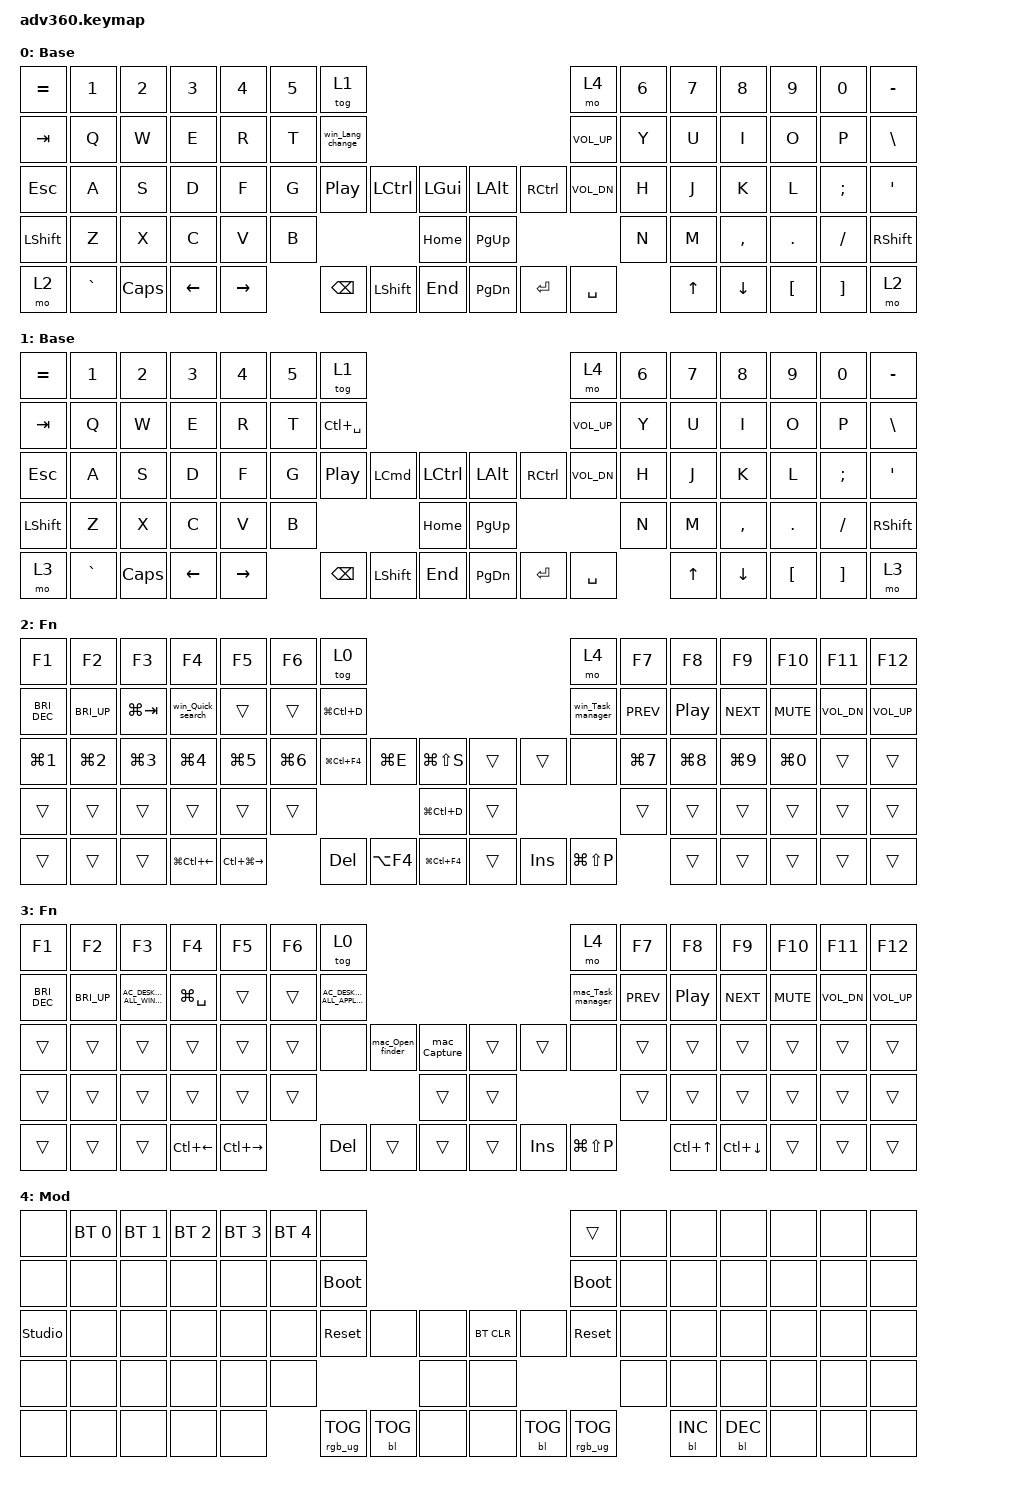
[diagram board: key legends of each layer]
#include <dt-bindings/zmk/stp.h>
#include <behaviors.dtsi>
#include <dt-bindings/zmk/backlight.h>
#include <dt-bindings/zmk/bt.h>
#include <dt-bindings/zmk/keys.h>
#include <dt-bindings/zmk/rgb.h>

/ {
    behaviors {
        #include "macros.dtsi"
      #include "version.dtsi"

        hm: homerow_mods {
            compatible = "zmk,behavior-hold-tap";
            label = "HOMEROW_MODS";
            #binding-cells = <2>;
            tapping-term-ms = <200>;
            quick_tap_ms = <175>;
            flavor = "tap-preferred";
            bindings = <&kp>, <&kp>;
        };

        normal_hold_tap: normal_hold_tap {
            compatible = "zmk,behavior-hold-tap";
            label = "NORMAL_HOLD_TAP";
            bindings = <&kp>, <&kp>;

            #binding-cells = <2>;
            tapping-term-ms = <600>;
            flavor = "tap-preferred";
        };
    };

    macros {
        win_Lang_change: Lang_change {
            compatible = "zmk,behavior-macro";
            #binding-cells = <0>;
            bindings = <&kp LG(SPACE)>;
            label = "LANG_CHANGE";
            tap-ms = <0>;
        };

        win_Quick_search: win_Quick_search {
            compatible = "zmk,behavior-macro";
            #binding-cells = <0>;
            bindings = <&kp LC(LS(F))>;
            label = "WIN_QUICK_SEARCH";
        };

        mac_Voice_dictation: mac_Voice_dictation {
            compatible = "zmk,behavior-macro";
            #binding-cells = <0>;
            bindings = <&kp RIGHT_CONTROL &kp RIGHT_CONTROL>;
            label = "MAC_VOICE_DICTATION";
        };

        mac_Open_finder: Mac_open_finder {
            compatible = "zmk,behavior-macro";
            #binding-cells = <0>;
            bindings = <&kp RS(LEFT_COMMAND)>, <&macro_press>, <&kp D>;

            label = "MAC_OPEN_FINDER";
        };

        mac_Capture: Mac_capture {
            compatible = "zmk,behavior-macro";
            #binding-cells = <0>;
            bindings = <&kp LS(LEFT_COMMAND)>, <&macro_press>, <&kp N4>;

            label = "MAC_CAPTURE";
        };

        win_Task_manager: win_Task_manager {
            compatible = "zmk,behavior-macro";
            #binding-cells = <0>;
            bindings = <&kp LC(LA(DELETE))>;
            label = "WIN_TASK_MANAGER";
        };

        mac_Task_manager: mac_Task_manager {
            compatible = "zmk,behavior-macro";
            #binding-cells = <0>;
            bindings = <&kp LG(LA(LS(ESCAPE)))>;
            label = "MAC_TASK_MANAGER";
        };
    };

    keymap {
        compatible = "zmk,keymap";

        window_layer {
            display-name = "Base";
            bindings = <
&kp EQUAL  &kp N1     &kp N2    &kp N3    &kp N4     &kp N5  &tog 1                                                                       &mo 4            &kp N6  &kp N7  &kp N8     &kp N9    &kp N0    &kp MINUS
&kp TAB    &kp Q      &kp W     &kp E     &kp R      &kp T   &win_Lang_change                                                             &kp C_VOLUME_UP  &kp Y   &kp U   &kp I      &kp O     &kp P     &kp BSLH
&kp ESC    &kp A      &kp S     &kp D     &kp F      &kp G   &kp C_PP          &kp LCTRL       &kp LEFT_GUI      &kp LEFT_ALT  &kp RCTRL  &kp C_VOL_DN     &kp H   &kp J   &kp K      &kp L     &kp SEMI  &kp SQT
&kp LSHFT  &kp Z      &kp X     &kp C     &kp V      &kp B                                     &kp HOME          &kp PG_UP                                 &kp N   &kp M   &kp COMMA  &kp DOT   &kp FSLH  &kp RSHFT
&mo 2      &kp GRAVE  &kp CAPS  &kp LEFT  &kp RIGHT          &kp BSPC          &kp LEFT_SHIFT  &kp END           &kp PG_DN     &kp ENTER  &kp SPACE                &kp UP  &kp DOWN   &kp LBKT  &kp RBKT  &mo 2
            >;
        };

        mac_layer {
            display-name = "Base";
            bindings = <
&kp EQUAL  &kp N1     &kp N2    &kp N3    &kp N4     &kp N5  &tog 1                                                                          &mo 4            &kp N6  &kp N7  &kp N8     &kp N9    &kp N0    &kp MINUS
&kp TAB    &kp Q      &kp W     &kp E     &kp R      &kp T   &kp LC(SPACE)                                                                   &kp C_VOLUME_UP  &kp Y   &kp U   &kp I      &kp O     &kp P     &kp BSLH
&kp ESC    &kp A      &kp S     &kp D     &kp F      &kp G   &kp C_PP       &kp LEFT_COMMAND  &kp LEFT_CONTROL      &kp LEFT_ALT  &kp RCTRL  &kp C_VOL_DN     &kp H   &kp J   &kp K      &kp L     &kp SEMI  &kp SQT
&kp LSHFT  &kp Z      &kp X     &kp C     &kp V      &kp B                                    &kp HOME              &kp PG_UP                                 &kp N   &kp M   &kp COMMA  &kp DOT   &kp FSLH  &kp RSHFT
&mo 3      &kp GRAVE  &kp CAPS  &kp LEFT  &kp RIGHT          &kp BSPC       &kp LEFT_SHIFT    &kp END               &kp PG_DN     &kp ENTER  &kp SPACE                &kp UP  &kp DOWN   &kp LBKT  &kp RBKT  &mo 3
            >;
        };

        window_fn {
            display-name = "Fn";
            bindings = <
&kp F1         &kp F2        &kp F3       &kp F4             &kp F5             &kp F6      &tog 0                                                           &mo 4              &kp F7      &kp F8      &kp F9      &kp F10     &kp F11       &kp F12
&kp C_BRI_DEC  &kp C_BRI_UP  &kp LG(TAB)  &win_Quick_search  &trans             &trans      &kp LG(LC(D))                                                    &win_Task_manager  &kp C_PREV  &kp C_PP    &kp C_NEXT  &kp C_MUTE  &kp C_VOL_DN  &kp C_VOLUME_UP
&kp LG(N1)     &kp LG(N2)    &kp LG(N3)   &kp LG(N4)         &kp LG(N5)         &kp LG(N6)  &kp LG(LC(F4))  &kp LG(E)   &kp LG(LS(S))       &trans  &trans   &none              &kp LG(N7)  &kp LG(N8)  &kp LG(N9)  &kp LG(N0)  &trans        &trans
&trans         &trans        &trans       &trans             &trans             &trans                                  &kp LG(LC(D))       &trans                              &trans      &trans      &trans      &trans      &trans        &trans
&trans         &trans        &trans       &kp LG(LC(LEFT))   &kp LC(LG(RIGHT))              &kp DELETE      &kp LA(F4)  &kp LG(LC(F4))      &trans  &kp INS  &kp LG(LS(P))                  &trans      &trans      &trans      &trans        &trans
            >;
        };

        mac_fn {
            display-name = "Fn";
            bindings = <
&kp F1         &kp F2        &kp F3                             &kp F4         &kp F5         &kp F6  &tog 0                                                                                       &mo 4              &kp F7      &kp F8      &kp F9        &kp F10     &kp F11       &kp F12
&kp C_BRI_DEC  &kp C_BRI_UP  &kp C_AC_DESKTOP_SHOW_ALL_WINDOWS  &kp LG(SPACE)  &trans         &trans  &kp C_AC_DESKTOP_SHOW_ALL_APPLICATIONS                                                       &mac_Task_manager  &kp C_PREV  &kp C_PP    &kp C_NEXT    &kp C_MUTE  &kp C_VOL_DN  &kp C_VOLUME_UP
&trans         &trans        &trans                             &trans         &trans         &trans  &none                                   &mac_Open_finder  &mac_Capture      &trans  &trans   &none              &trans      &trans      &trans        &trans      &trans        &trans
&trans         &trans        &trans                             &trans         &trans         &trans                                                            &trans            &trans                              &trans      &trans      &trans        &trans      &trans        &trans
&trans         &trans        &trans                             &kp LC(LEFT)   &kp LC(RIGHT)          &kp DELETE                              &trans            &trans            &trans  &kp INS  &kp LG(LS(P))                  &kp LC(UP)  &kp LC(DOWN)  &trans      &trans        &trans
            >;
        };

        mod {
            display-name = "Mod";
            bindings = <
&none           &bt BT_SEL 0  &bt BT_SEL 1  &bt BT_SEL 2  &bt BT_SEL 3  &bt BT_SEL 4  &none                                                           &trans           &none  &none       &none       &none  &none  &none
&none           &none         &none         &none         &none         &none         &bootloader                                                     &bootloader      &none  &none       &none       &none  &none  &none
&studio_unlock  &none         &none         &none         &none         &none         &sys_reset       &none       &none      &bt BT_CLR  &none       &sys_reset       &none  &none       &none       &none  &none  &none
&none           &none         &none         &none         &none         &none                                      &none      &none                                    &none  &none       &none       &none  &none  &none
&none           &none         &none         &none         &none                       &rgb_ug RGB_TOG  &bl BL_TOG  &none      &none       &bl BL_TOG  &rgb_ug RGB_TOG         &bl BL_INC  &bl BL_DEC  &none  &none  &none
            >;
        };
    };
};
